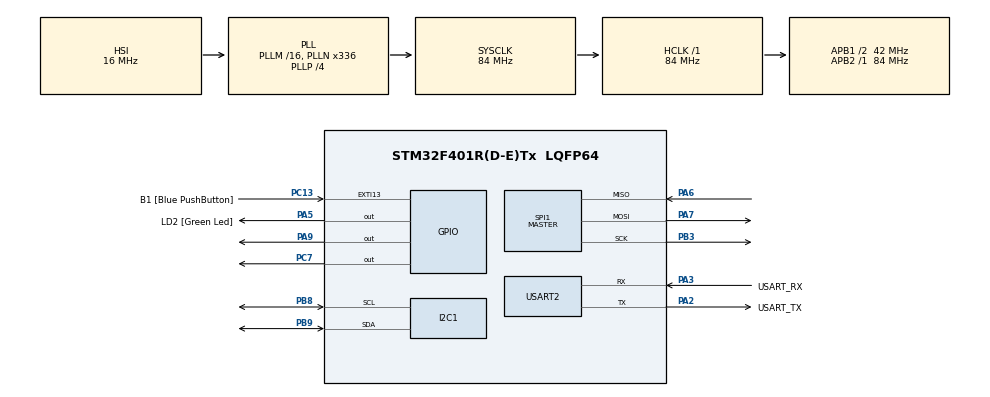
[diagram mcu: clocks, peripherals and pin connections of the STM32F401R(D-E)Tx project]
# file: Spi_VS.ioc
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Mcu.Family=STM32F4
Mcu.Name=STM32F401R(D-E)Tx
Mcu.Package=LQFP64
NVIC.PriorityGroup=NVIC_PRIORITYGROUP_0
PA13.GPIO_Label=TMS
PA13.Mode=Serial_Wire
PA13.Signal=SYS_JTMS-SWDIO
PA14.GPIO_Label=TCK
PA14.Mode=Serial_Wire
PA14.Signal=SYS_JTCK-SWCLK
PA2.GPIO_Label=USART_TX
PA2.GPIO_Mode=GPIO_MODE_AF_PP
PA2.GPIO_PuPd=GPIO_NOPULL
PA2.GPIO_Speed=GPIO_SPEED_FREQ_LOW
PA2.Mode=Asynchronous
PA2.Signal=USART2_TX
PA3.GPIO_Label=USART_RX
PA3.GPIO_Mode=GPIO_MODE_AF_PP
PA3.GPIO_PuPd=GPIO_NOPULL
PA3.GPIO_Speed=GPIO_SPEED_FREQ_LOW
PA3.Mode=Asynchronous
PA3.Signal=USART2_RX
PA5.GPIO_Label=LD2 [Green Led]
PA5.GPIO_Mode=GPIO_MODE_OUTPUT_PP
PA5.GPIO_PuPd=GPIO_NOPULL
PA5.GPIO_Speed=GPIO_SPEED_FREQ_LOW
PA5.Signal=GPIO_Output
PA6.Mode=Full_Duplex_Master
PA6.Signal=SPI1_MISO
PA7.Mode=Full_Duplex_Master
PA7.Signal=SPI1_MOSI
PA9.Signal=GPIO_Output
PB3.Mode=Full_Duplex_Master
PB3.Signal=SPI1_SCK
PB8.Mode=I2C
PB8.Signal=I2C1_SCL
PB9.Mode=I2C
PB9.Signal=I2C1_SDA
PC13-ANTI_TAMP.GPIO_Label=B1 [Blue PushButton]
PC13-ANTI_TAMP.GPIO_ModeDefaultEXTI=GPIO_MODE_IT_FALLING
PC13-ANTI_TAMP.GPIO_PuPd=GPIO_NOPULL
PC13-ANTI_TAMP.Signal=GPXTI13
PC14-OSC32_IN.Mode=LSE-External-Oscillator
PC14-OSC32_IN.Signal=RCC_OSC32_IN
PC15-OSC32_OUT.Mode=LSE-External-Oscillator
PC15-OSC32_OUT.Signal=RCC_OSC32_OUT
PC7.Signal=GPIO_Output
PH0\ -\ OSC_IN.Mode=HSE-External-Clock-Source
PH0\ -\ OSC_IN.Signal=RCC_OSC_IN
PH1\ -\ OSC_OUT.Mode=HSE-External-Clock-Source
PH1\ -\ OSC_OUT.Signal=RCC_OSC_OUT
ProjectManager.HeapSize=0x200
ProjectManager.StackSize=0x400
ProjectManager.TargetToolchain=Makefile
RCC.48MHZClocksFreq_Value=48000000
RCC.AHBFreq_Value=84000000
RCC.APB1CLKDivider=RCC_HCLK_DIV2
RCC.APB1Freq_Value=42000000
RCC.APB1TimFreq_Value=84000000
RCC.APB2Freq_Value=84000000
RCC.APB2TimFreq_Value=84000000
RCC.CortexFreq_Value=84000000
RCC.HCLKFreq_Value=84000000
RCC.HSE_VALUE=8000000
RCC.HSI_VALUE=16000000
RCC.PLLN=336
RCC.PLLP=RCC_PLLP_DIV4
RCC.PLLQ=7
RCC.SYSCLKFreq_VALUE=84000000
RCC.SYSCLKSource=RCC_SYSCLKSOURCE_PLLCLK
RCC.VCOOutputFreq_Value=336000000
SPI1.BaudRatePrescaler=SPI_BAUDRATEPRESCALER_32
SPI1.Direction=SPI_DIRECTION_2LINES
SPI1.Mode=SPI_MODE_MASTER
SPI1.VirtualType=VM_MASTER
USART2.VirtualMode=VM_ASYNC
board=NUCLEO-F401RE

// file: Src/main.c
/* USER CODE BEGIN Header */
/**
  ******************************************************************************
  * @file           : main.c
  * @brief          : Main program body
  ******************************************************************************
  ** This notice applies to any and all portions of this file
  * that are not between comment pairs USER CODE BEGIN and
  * USER CODE END. Other portions of this file, whether
  * inserted by the user or by software development tools
  * are owned by their respective copyright owners.
  *
  * COPYRIGHT(c) 2024 STMicroelectronics
  *
  * Redistribution and use in source and binary forms, with or without modification,
  * are permitted provided that the following conditions are met:
  *   1. Redistributions of source code must retain the above copyright notice,
  *      this list of conditions and the following disclaimer.
  *   2. Redistributions in binary form must reproduce the above copyright notice,
  *      this list of conditions and the following disclaimer in the documentation
  *      and/or other materials provided with the distribution.
  *   3. Neither the name of STMicroelectronics nor the names of its contributors
  *      may be used to endorse or promote products derived from this software
  *      without specific prior written permission.
  *
  * THIS SOFTWARE IS PROVIDED BY THE COPYRIGHT HOLDERS AND CONTRIBUTORS "AS IS"
  * AND ANY EXPRESS OR IMPLIED WARRANTIES, INCLUDING, BUT NOT LIMITED TO, THE
  * IMPLIED WARRANTIES OF MERCHANTABILITY AND FITNESS FOR A PARTICULAR PURPOSE ARE
  * DISCLAIMED. IN NO EVENT SHALL THE COPYRIGHT HOLDER OR CONTRIBUTORS BE LIABLE
  * FOR ANY DIRECT, INDIRECT, INCIDENTAL, SPECIAL, EXEMPLARY, OR CONSEQUENTIAL
  * DAMAGES (INCLUDING, BUT NOT LIMITED TO, PROCUREMENT OF SUBSTITUTE GOODS OR
  * SERVICES; LOSS OF USE, DATA, OR PROFITS; OR BUSINESS INTERRUPTION) HOWEVER
  * CAUSED AND ON ANY THEORY OF LIABILITY, WHETHER IN CONTRACT, STRICT LIABILITY,
  * OR TORT (INCLUDING NEGLIGENCE OR OTHERWISE) ARISING IN ANY WAY OUT OF THE USE
  * OF THIS SOFTWARE, EVEN IF ADVISED OF THE POSSIBILITY OF SUCH DAMAGE.
  *
  ******************************************************************************
  */
/* USER CODE END Header */

#include "main.h"
#include "stdio.h"

/* USER CODE BEGIN PD */

#define CHANNEL_B 2
#define CHANNEL_C 3
#define CHANNEL_D 4
#define MIN_VOLTAGE 1.61 // 1.61mV
// 5.1; //2.45;

#define MAX_VOLTAGE 3.00 // 3.00mV

#define VSLSB 0.0025 // 0.0025mV
#define CLSB 0.025 // 0.025mA
#define VLSB 1.25 // 1.25mV
/* USER CODE END PD */

I2C_HandleTypeDef hi2c1;

SPI_HandleTypeDef hspi1;

UART_HandleTypeDef huart2;

void SystemClock_Config(void);
static void MX_GPIO_Init(void);
static void MX_USART2_UART_Init(void);
static void MX_I2C1_Init(void);
static void MX_SPI1_Init(void);
/* USER CODE BEGIN PFP */

float GetVoltage(uint16_t voltageHex);
float GetShuntVoltage(uint16_t voltageHex);
float GetCurrent(uint16_t currentHex);
uint16_t GetShuntVoltageReg(void);
uint16_t GetBusVoltageReg(void);
uint16_t GetCurrentReg(void);
void SetDACOut(uint16_t value, uint8_t channel);
void PrintTransmitMeasuredVC(int delay);
void PrintTransmitApproximatedVC(int delay);
/* USER CODE END PFP */

/* USER CODE BEGIN 0 */

uint8_t spiData[3];
uint16_t outFine = 0;
uint16_t out;
// uint16_t outDec;
uint16_t outCoarse = 1;
// uint16_t outFineDec = 0;
// uint16_t outCoarseDec = 0;

// float k = 0.84422;// for 30omh
// float b = 0.04587;// for 30omh
// float b_ = 0.16735;// for 30omh

// float k2 = 0.000388057; // for 30omh
// float b2 = -0.07494; // for 30omh
// float b3 = 0.05910838 -0.05912935787;
// float b3 = 0.00002092; // for 30omh

// for 6 Ohm
float k2 = 0.000474392; // approximate
float b2 = -0.205391382;

// float k1 = 0.84629863; // correct INA
// float b1 = 0.06857670;

// float approxCoefficient = 103.5414; // 30 omh
float approxCoefficient = 424.6; // 30 omh

uint8_t I2C_Data[3];
uint8_t recData[3];
uint8_t devAddr = 0x80;
uint16_t configWord;
uint16_t calibWord;
uint16_t receive;
// uint16_t volHex;
uint8_t sendOK;
float voltage;
float current;
// float shuntVoltage;
uint16_t g_counter = 0;
int g_delay = 300;

// uint8_t data[7]; //= "Hello\r\n";
char data2[40];

/* USER CODE END 0 */

int main(void)
{

  /* MCU Configuration--------------------------------------------------------*/

  /* Reset of all peripherals, Initializes the Flash interface and the Systick. */
  HAL_Init();

  /* Configure the system clock */
  SystemClock_Config();

  /* Initialize all configured peripherals */
  MX_GPIO_Init();
  MX_USART2_UART_Init();
  MX_I2C1_Init();
  MX_SPI1_Init();
  /* USER CODE BEGIN 2 */

  //0 100 000 100 100 111 // use 4 averages, 1.1 ms conversion time
  //0 100 010 100 100 111 // use 16 averages
	//configWord = 0x327;
	//configWord = 0x4927;  128 avg
	configWord = 0x4527;// 16 avg
	I2C_Data[0] = 0x00;
	I2C_Data[1] = (configWord & 0xFF00) >> 8;
	I2C_Data[2] = (configWord & 0x00FF);
	HAL_I2C_Master_Transmit(&hi2c1, devAddr, I2C_Data, 3, 20);
	receive = HAL_I2C_Master_Receive(&hi2c1, devAddr, &recData[1],2,10);

	// 2. Set Calibration register
	calibWord = 0x800;
	I2C_Data[0] = 0x05;
	I2C_Data[1] = (calibWord & 0xFF00) >> 8;
	I2C_Data[2] = (calibWord & 0x00FF);
	sendOK = 	HAL_I2C_Master_Transmit(&hi2c1, devAddr, I2C_Data, 3, 10);
	receive = HAL_I2C_Master_Receive(&hi2c1, devAddr, &recData[1],2,10);
	HAL_Delay(100);

  // 1. Set up the DAC

  // doing reset

  out = 0x0001;
  spiData[0] = 0x28;   //00101000
  spiData[1] = (out & 0xFF00) >> 8;
  spiData[2] = (out & 0x00FF);
  HAL_GPIO_WritePin(GPIOC, GPIO_PIN_7, GPIO_PIN_RESET);
  HAL_SPI_Transmit(&hspi1, spiData, 3, 10);
  HAL_GPIO_WritePin(GPIOC, GPIO_PIN_7, GPIO_PIN_SET);

  // using internal reference
  out = 0x0001;
  spiData[0] = 0x38;   //00111000 = 0x38
  spiData[1] = (out & 0xFF00) >> 8;
  spiData[2] = (out & 0x00FF);
  HAL_GPIO_WritePin(GPIOC, GPIO_PIN_7, GPIO_PIN_RESET);
  if(!HAL_SPI_Transmit(&hspi1, spiData, 3, 10))
    HAL_GPIO_TogglePin(GPIOA, GPIO_PIN_5);
  HAL_GPIO_WritePin(GPIOC, GPIO_PIN_7, GPIO_PIN_SET);
  //HAL_Delay(1);

  //configuring LDAC
  HAL_Delay(10);
  out = 0x000C;
  spiData[0] = 0x30;   //00110000 = 0x30
  spiData[1] = (out & 0xFF00) >> 8;
  spiData[2] = (out & 0x00FF);
  HAL_GPIO_WritePin(GPIOC, GPIO_PIN_7, GPIO_PIN_RESET);
  HAL_SPI_Transmit(&hspi1, spiData, 3, 10);
  HAL_GPIO_WritePin(GPIOC, GPIO_PIN_7, GPIO_PIN_SET);
  /*
  //set D to zero
  //HAL_Delay(10);
  out = 0x000;
  spiData[0] = 0x13;   //00010011
  spiData[1] = (out & 0xFF0) >> 4;
  spiData[2] = (out & 0x00F)<<4;
  HAL_GPIO_WritePin(GPIOC, GPIO_PIN_7, GPIO_PIN_RESET);
  HAL_SPI_Transmit(&hspi1, spiData, 3, 10);
  HAL_GPIO_WritePin(GPIOC, GPIO_PIN_7, GPIO_PIN_SET);
  out = 0x000;*/

  outCoarse = 0; //1.41 mV
  outFine = 4000;
  SetDACOut(outFine, CHANNEL_B);
  SetDACOut(outCoarse, CHANNEL_C);
	SetDACOut(0, CHANNEL_D);

  /* USER CODE END 2 */

  /* Infinite loop */
  while (1)
  {

    // outCoarse = 4090; //1.41 mV
    // outFine = 0; //
    // SetDACOut(0, CHANNEL_B);
    // SetDACOut(outCoarse, CHANNEL_C);
    // SetDACOut(outFine, CHANNEL_D);

    PrintTransmitMeasuredVC(g_delay);

    // PrintTransmitApproximatedVC(g_delay);

    /*
    while(1)
    {
      PrintTransmitMeasuredVC(1000);
      g_counter++;
    }
    */

    /*
    while(voltage < MIN_VOLTAGE){
        // PrintTransmitApproximatedVC(g_delay);
        PrintTransmitMeasuredVC(g_delay);
        g_counter++;

        for(outFine = 1; outFine < 100; outFine++) //increment by 10
        {
          SetDACOut(outCoarse, CHANNEL_C);
          SetDACOut(outFine, CHANNEL_D);

          // PrintTransmitApproximatedVC(g_delay);
          PrintTransmitMeasuredVC(g_delay);
          g_counter++;
        }
        outCoarse += 1;
        // outFine = 0;
    }

    while(1){
      // outDec++;
      out += 5;
      SetDACOut(out, CHANNEL_C);
      SetDACOut(outFine, CHANNEL_D);
      if(out >= 4095)
          out = 1;

      // PrintTransmitApproximatedVC(g_delay);
      PrintTransmitMeasuredVC(g_delay);
      g_counter++;
    }
    */

  }
}

void SystemClock_Config(void)
{
  RCC_OscInitTypeDef RCC_OscInitStruct = {0};
  RCC_ClkInitTypeDef RCC_ClkInitStruct = {0};

  /**Configure the main internal regulator output voltage
  */
  __HAL_RCC_PWR_CLK_ENABLE();
  __HAL_PWR_VOLTAGESCALING_CONFIG(PWR_REGULATOR_VOLTAGE_SCALE2);
  /**Initializes the CPU, AHB and APB busses clocks
  */
  RCC_OscInitStruct.OscillatorType = RCC_OSCILLATORTYPE_HSI;
  RCC_OscInitStruct.HSIState = RCC_HSI_ON;
  RCC_OscInitStruct.HSICalibrationValue = RCC_HSICALIBRATION_DEFAULT;
  RCC_OscInitStruct.PLL.PLLState = RCC_PLL_ON;
  RCC_OscInitStruct.PLL.PLLSource = RCC_PLLSOURCE_HSI;
  RCC_OscInitStruct.PLL.PLLM = 16;
  RCC_OscInitStruct.PLL.PLLN = 336;
  RCC_OscInitStruct.PLL.PLLP = RCC_PLLP_DIV4;
  RCC_OscInitStruct.PLL.PLLQ = 7;
  if (HAL_RCC_OscConfig(&RCC_OscInitStruct) != HAL_OK)
  {
    Error_Handler();
  }
  /**Initializes the CPU, AHB and APB busses clocks
  */
  RCC_ClkInitStruct.ClockType = RCC_CLOCKTYPE_HCLK|RCC_CLOCKTYPE_SYSCLK
                              |RCC_CLOCKTYPE_PCLK1|RCC_CLOCKTYPE_PCLK2;
  RCC_ClkInitStruct.SYSCLKSource = RCC_SYSCLKSOURCE_PLLCLK;
  RCC_ClkInitStruct.AHBCLKDivider = RCC_SYSCLK_DIV1;
  RCC_ClkInitStruct.APB1CLKDivider = RCC_HCLK_DIV2;
  RCC_ClkInitStruct.APB2CLKDivider = RCC_HCLK_DIV1;

  if (HAL_RCC_ClockConfig(&RCC_ClkInitStruct, FLASH_LATENCY_2) != HAL_OK)
  {
    Error_Handler();
  }
}

static void MX_I2C1_Init(void)
{

  hi2c1.Instance = I2C1;
  hi2c1.Init.ClockSpeed = 100000;
  hi2c1.Init.DutyCycle = I2C_DUTYCYCLE_2;
  hi2c1.Init.OwnAddress1 = 0;
  hi2c1.Init.AddressingMode = I2C_ADDRESSINGMODE_7BIT;
  hi2c1.Init.DualAddressMode = I2C_DUALADDRESS_DISABLE;
  hi2c1.Init.OwnAddress2 = 0;
  hi2c1.Init.GeneralCallMode = I2C_GENERALCALL_DISABLE;
  hi2c1.Init.NoStretchMode = I2C_NOSTRETCH_DISABLE;
  if (HAL_I2C_Init(&hi2c1) != HAL_OK)
  {
    Error_Handler();
  }

}

static void MX_SPI1_Init(void)
{

  /* SPI1 parameter configuration*/
  hspi1.Instance = SPI1;
  hspi1.Init.Mode = SPI_MODE_MASTER;
  hspi1.Init.Direction = SPI_DIRECTION_2LINES;
  hspi1.Init.DataSize = SPI_DATASIZE_8BIT;
  hspi1.Init.CLKPolarity = SPI_POLARITY_LOW;
  hspi1.Init.CLKPhase = SPI_PHASE_1EDGE;
  hspi1.Init.NSS = SPI_NSS_SOFT;
  hspi1.Init.BaudRatePrescaler = SPI_BAUDRATEPRESCALER_32;
  hspi1.Init.FirstBit = SPI_FIRSTBIT_MSB;
  hspi1.Init.TIMode = SPI_TIMODE_DISABLE;
  hspi1.Init.CRCCalculation = SPI_CRCCALCULATION_DISABLE;
  hspi1.Init.CRCPolynomial = 10;
  if (HAL_SPI_Init(&hspi1) != HAL_OK)
  {
    Error_Handler();
  }

}

static void MX_USART2_UART_Init(void)
{

  huart2.Instance = USART2;
  huart2.Init.BaudRate = 115200;
  huart2.Init.WordLength = UART_WORDLENGTH_8B;
  huart2.Init.StopBits = UART_STOPBITS_1;
  huart2.Init.Parity = UART_PARITY_NONE;
  huart2.Init.Mode = UART_MODE_TX_RX;
  huart2.Init.HwFlowCtl = UART_HWCONTROL_NONE;
  huart2.Init.OverSampling = UART_OVERSAMPLING_16;
  if (HAL_UART_Init(&huart2) != HAL_OK)
  {
    Error_Handler();
  }

}

static void MX_GPIO_Init(void)
{
  GPIO_InitTypeDef GPIO_InitStruct = {0};

  /* GPIO Ports Clock Enable */
  __HAL_RCC_GPIOC_CLK_ENABLE();
  __HAL_RCC_GPIOH_CLK_ENABLE();
  __HAL_RCC_GPIOA_CLK_ENABLE();
  __HAL_RCC_GPIOB_CLK_ENABLE();

  /*Configure GPIO pin Output Level */
  HAL_GPIO_WritePin(GPIOA, LD2_Pin|GPIO_PIN_9, GPIO_PIN_RESET);

  /*Configure GPIO pin Output Level */
  HAL_GPIO_WritePin(GPIOC, GPIO_PIN_7, GPIO_PIN_RESET);

  /*Configure GPIO pin : B1_Pin */
  GPIO_InitStruct.Pin = B1_Pin;
  GPIO_InitStruct.Mode = GPIO_MODE_IT_FALLING;
  GPIO_InitStruct.Pull = GPIO_NOPULL;
  HAL_GPIO_Init(B1_GPIO_Port, &GPIO_InitStruct);

  /*Configure GPIO pins : LD2_Pin PA9 */
  GPIO_InitStruct.Pin = LD2_Pin|GPIO_PIN_9;
  GPIO_InitStruct.Mode = GPIO_MODE_OUTPUT_PP;
  GPIO_InitStruct.Pull = GPIO_NOPULL;
  GPIO_InitStruct.Speed = GPIO_SPEED_FREQ_LOW;
  HAL_GPIO_Init(GPIOA, &GPIO_InitStruct);

  /*Configure GPIO pin : PC7 */
  GPIO_InitStruct.Pin = GPIO_PIN_7;
  GPIO_InitStruct.Mode = GPIO_MODE_OUTPUT_PP;
  GPIO_InitStruct.Pull = GPIO_NOPULL;
  GPIO_InitStruct.Speed = GPIO_SPEED_FREQ_LOW;
  HAL_GPIO_Init(GPIOC, &GPIO_InitStruct);

}

/* USER CODE BEGIN 4 */

void SetDACOut(uint16_t value, uint8_t channel)
{
   spiData[1] = (value & 0xFF0) >> 4;
   spiData[2] = (value & 0x00F) << 4;
   if(channel == CHANNEL_B)
      spiData[0] = 0x11;
   else if(channel == CHANNEL_C)
      spiData[0] = 0x12;
   else if(channel == CHANNEL_D)
      spiData[0] = 0x13;
   //00010010
   HAL_GPIO_WritePin(GPIOC, GPIO_PIN_7, GPIO_PIN_RESET);
   HAL_SPI_Transmit(&hspi1, spiData, 3, 10);
   HAL_GPIO_WritePin(GPIOC, GPIO_PIN_7, GPIO_PIN_SET);
}

/**
  * @brief  Measures values of Voltage and Current then Prints and Transmits them.
  * @param  delay - optional delay after transmitting data in ms.
  * @retval None
  */
void PrintTransmitMeasuredVC(int delay)
{
  voltage = GetVoltage(GetBusVoltageReg())/1000;
  current = GetCurrent(GetCurrentReg());
  snprintf(data2, sizeof data2, " %1.3f %1.3f %d %d %d \n\r", voltage, current, outCoarse, outFine, g_counter);
  HAL_UART_Transmit(&huart2, data2, sizeof data2, 100);
  HAL_Delay(delay);
}

/**
  * @brief  Calculates Approximate values of Voltage and Current then Prints and Transmits them.
  * @param  delay - optional delay after transmitting data in ms.
  * @retval None
  */
void PrintTransmitApproximatedVC(int delay)
{
  voltage = GetVoltage(GetBusVoltageReg())/1000;
  current = (outCoarse * approxCoefficient + outFine) * k2 + b2;
  snprintf(data2, sizeof data2, " %1.3f %1.3f %d %d %d \n\r", voltage, current, outCoarse, outFine, g_counter);
  HAL_UART_Transmit(&huart2, data2, sizeof data2, 100);
  HAL_Delay(delay);
}

uint16_t GetShuntVoltageReg(void){
	I2C_Data[0] = 0x01;
	sendOK = 	HAL_I2C_Master_Transmit(&hi2c1, devAddr, I2C_Data, 1, 10);
	receive = HAL_I2C_Master_Receive(&hi2c1, devAddr, &recData[1],2,10);
	return ((uint16_t)recData[1]<<8 | recData[2]);
}

uint16_t GetBusVoltageReg(void){
	I2C_Data[0] = 0x02;
	sendOK = 	HAL_I2C_Master_Transmit(&hi2c1, devAddr, I2C_Data, 1, 10);
	receive = HAL_I2C_Master_Receive(&hi2c1, devAddr, &recData[1],2,10);
	return ((uint16_t)recData[1]<<8 | recData[2]);
}

uint16_t GetCurrentReg(void){
	I2C_Data[0] = 0x04;
	sendOK = 	HAL_I2C_Master_Transmit(&hi2c1, devAddr, I2C_Data, 1, 10);
	receive = HAL_I2C_Master_Receive(&hi2c1, devAddr, &recData[1],2,10);
	return ((uint16_t)recData[1]<<8 | recData[2]);
}

float GetVoltage(uint16_t voltageHex){
	uint16_t temp;
	if(voltageHex>>15)
	{
		temp=~voltageHex;
		return (((temp*(-1)) + 0x01)*VLSB);
	}
	else
	return voltageHex*VLSB;
}

float GetShuntVoltage(uint16_t voltageHex){
	uint16_t temp;
	if(voltageHex>>15)
	{
		temp=~voltageHex;
		return (((temp*(-1)) + 0x01)*VSLSB);
	}
	else
	  return voltageHex*VSLSB;
}

float GetCurrent(uint16_t currentHex){
  /*
  uint16_t temp;
	if((currentHex>>15) & (currentHex<=0xFFF9))
		return 0;
	if((currentHex>>15) & (currentHex>=0xFFFA))
  {
		temp = ~currentHex;
	  return (((temp*(-1))+ 0x06)*CLSB);
	}
  else
	  return (currentHex+5)*CLSB;
  */
	uint16_t temp;
	if(currentHex>>15)
	{
		temp=~currentHex;
		return (((temp*(-1))+ 0x01)*CLSB);
	}
	else
	  return currentHex*CLSB;
}

/* USER CODE END 4 */

void Error_Handler(void)
{
}

/************************ (C) COPYRIGHT STMicroelectronics *****END OF FILE****/
